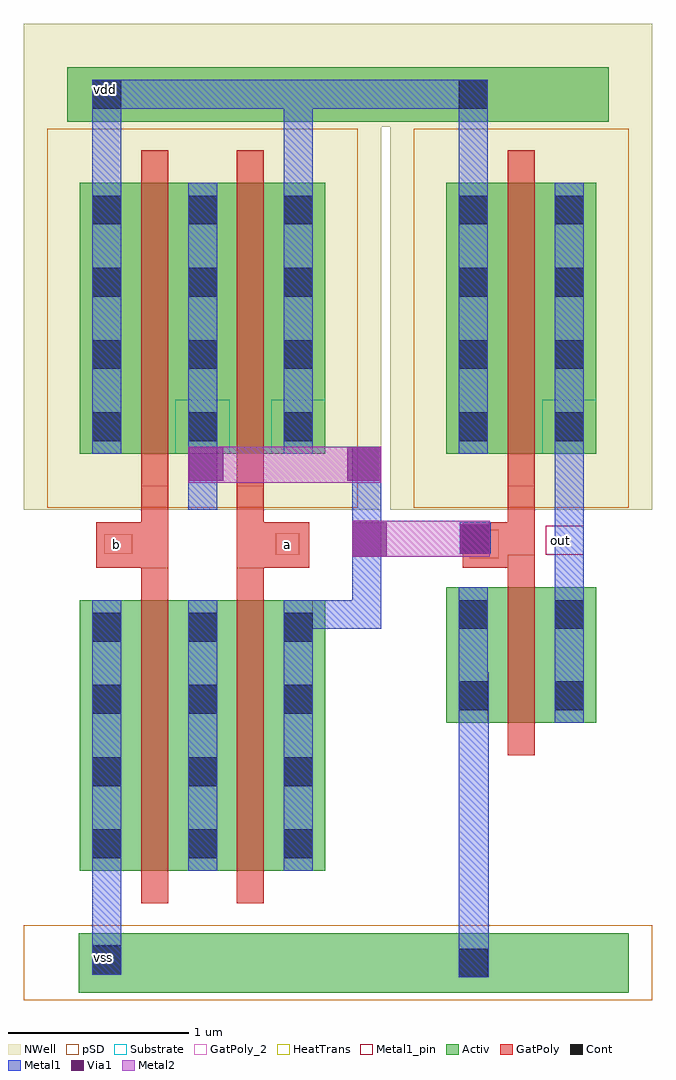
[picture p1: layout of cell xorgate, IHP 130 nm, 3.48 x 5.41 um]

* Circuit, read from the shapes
.subckt xorgate a b out vdd vss
XM1 n1 b vss vss sg13_lv_nmos w=1.5u l=0.15u
XM2 inverter$3_4/in a n1 vss sg13_lv_nmos w=1.5u l=0.15u
XM3 out inverter$3_4/in vss vss sg13_lv_nmos w=0.75u l=0.15u
XM4 inverter$3_4/in b vdd vdd sg13_lv_pmos w=1.5u l=0.15u
XM5 vdd a inverter$3_4/in vdd sg13_lv_pmos w=1.5u l=0.15u
XM6 out inverter$3_4/in vdd vdd sg13_lv_pmos w=1.5u l=0.15u
.ends

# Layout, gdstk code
from math import pi, radians
import gdstk
lib = gdstk.Library(unit=1e-6, precision=5e-09)
def R(c, l, rs):  # rectangles x0, y0, x1, y1
    for r in rs: c.add(gdstk.rectangle(r[:2], r[2:], *l))
def A(c, l, x, y, w, h, nx, ny, dx, dy):  # array of equal rectangles
    R(c, l, [(x+i*dx, y+j*dy, x+i*dx+w, y+j*dy+h) for i in range(nx) for j in range(ny)])
Activ = (1, 0)
GatPoly = (5, 0)
GatPoly_2 = (5, 2)
Cont = (6, 0)
Metal1 = (8, 0)
Metal1_pin = (8, 2)
Metal2 = (10, 0)
pSD = (14, 0)
Via1 = (19, 0)
NWell = (31, 0)
Substrate = (40, 0)
HeatTrans = (51, 0)

nmos_1 = lib.new_cell('nmos$1')
R(nmos_1, Activ, [(0,0,0.3,0.3), (0,0,0.83,1.5), (0.53,0,0.83,0.3)])
R(nmos_1, GatPoly, [(0.34,-0.18,0.49,1.68)])
R(nmos_1, GatPoly_2, [(0.34,-0.18,0.49,1.68)])
A(nmos_1, Cont, 0.07, 0.07, 0.16, 0.16, 1, 4, 0, 0.4)
A(nmos_1, Cont, 0.6, 0.07, 0.16, 0.16, 1, 4, 0, 0.4)
R(nmos_1, Metal1, [(0.07,0,0.23,1.5), (0.6,0,0.76,1.5)])
R(nmos_1, Metal1_pin, [(0.07,0,0.23,1.5), (0.6,0,0.76,1.5)])
R(nmos_1, HeatTrans, [(0.34,-0.18,0.49,1.68)])
nmos_1.add(gdstk.Label('nmos', (0.415,0.75), layer=63, texttype=0))
nmos_1.add(gdstk.Label('nmos', (0.415,0.75), layer=51, texttype=0))

pmos = lib.new_cell('pmos')
R(pmos, Activ, [(0,0,0.3,0.3), (0,0,0.83,1.5), (0.53,0,0.83,0.3)])
R(pmos, GatPoly, [(0.34,-0.18,0.49,1.68), (0.34,-0.18,0.49,1.68)])
A(pmos, Cont, 0.07, 0.07, 0.16, 0.16, 1, 4, 0, 0.4)
A(pmos, Cont, 0.6, 0.07, 0.16, 0.16, 1, 4, 0, 0.4)
R(pmos, Metal1, [(0.07,0,0.23,1.5), (0.07,0,0.23,1.5), (0.6,0,0.76,1.5), (0.6,0,0.76,1.5)])
R(pmos, pSD, [(-0.18,-0.3,1.01,1.8)])
R(pmos, NWell, [(-0.31,-0.31,1.14,1.81)])
R(pmos, Substrate, [(0.53,0,0.83,0.3)])
R(pmos, HeatTrans, [(0.34,-0.18,0.49,1.68)])
pmos.add(gdstk.Label('pmos', (0.415,0.75), layer=63, texttype=0))
pmos.add(gdstk.Label('pmos', (0.415,0.75), layer=51, texttype=0))

nmos_4 = lib.new_cell('nmos$4')
R(nmos_4, Activ, [(0,0,0.3,0.3), (0,0,0.83,0.75), (0.53,0,0.83,0.3)])
R(nmos_4, GatPoly, [(0.34,-0.18,0.49,0.93)])
R(nmos_4, GatPoly_2, [(0.34,-0.18,0.49,0.93)])
R(nmos_4, Cont, [(0.07,0.07,0.23,0.23), (0.6,0.07,0.76,0.23), (0.07,0.52,0.23,0.68), (0.6,0.52,0.76,0.68)])
R(nmos_4, Metal1, [(0.07,0,0.23,0.75), (0.6,0,0.76,0.75)])
R(nmos_4, Metal1_pin, [(0.07,0,0.23,0.75), (0.6,0,0.76,0.75)])
R(nmos_4, HeatTrans, [(0.34,-0.18,0.49,0.93)])
nmos_4.add(gdstk.Label('nmos', (0.415,0.375), layer=63, texttype=0))
nmos_4.add(gdstk.Label('nmos', (0.415,0.375), layer=51, texttype=0))

pmos_4 = lib.new_cell('pmos$4')
R(pmos_4, Activ, [(0,0,0.3,0.3), (0,0,0.83,1.5), (0.53,0,0.83,0.3)])
R(pmos_4, GatPoly, [(0.34,-0.18,0.49,1.68), (0.34,-0.18,0.49,1.68)])
A(pmos_4, Cont, 0.07, 0.07, 0.16, 0.16, 1, 4, 0, 0.4)
A(pmos_4, Cont, 0.6, 0.07, 0.16, 0.16, 1, 4, 0, 0.4)
R(pmos_4, Metal1, [(0.07,0,0.23,1.5), (0.07,0,0.23,1.5), (0.6,0,0.76,1.5), (0.6,0,0.76,1.5)])
R(pmos_4, pSD, [(-0.18,-0.3,1.01,1.8)])
R(pmos_4, NWell, [(-0.31,-0.31,1.14,1.81)])
R(pmos_4, Substrate, [(0.53,0,0.83,0.3)])
R(pmos_4, HeatTrans, [(0.34,-0.18,0.49,1.68)])
pmos_4.add(gdstk.Label('pmos', (0.415,0.75), layer=63, texttype=0))
pmos_4.add(gdstk.Label('pmos', (0.415,0.75), layer=51, texttype=0))

inverter_3 = lib.new_cell('inverter$3')
R(inverter_3, Activ, [(-0.845,-2.62,0.395,-2.29), (-0.795,2.205,0.285,2.505)])
R(inverter_3, GatPoly, [(-0.525,-0.265,-0.275,-0.015), (-0.275,-0.195,-0.125,0.185)])
R(inverter_3, GatPoly_2, [(-0.485,-0.215,-0.325,-0.055)])
R(inverter_3, Cont, [(-0.545,-2.535,-0.385,-2.375), (-0.545,-2.535,-0.385,-2.375), (-0.545,2.275,-0.385,2.435)])
R(inverter_3, Metal1, [(-0.545,-2.535,-0.38,-0.845), (-0.015,-0.375,0.145,0.365), (-0.545,1.865,-0.385,2.435)])
R(inverter_3, Metal1_pin, [(-0.015,-0.195,0.145,-0.035)])
R(inverter_3, pSD, [(-0.925,-2.66,0.525,-2.245)])
R(inverter_3, NWell, [(-0.925,2.175,0.525,2.745)])
inverter_3.add(gdstk.Reference(nmos_4, (-0.615,-1.125)))
inverter_3.add(gdstk.Reference(pmos_4, (-0.615,0.365)))
inverter_3.add(gdstk.Label('vss', (-0.475,-2.43), layer=8, texttype=2))
inverter_3.add(gdstk.Label('vdd', (-0.465,2.355), layer=8, texttype=2))
inverter_3.add(gdstk.Label('out', (0.06,-0.09), layer=8, texttype=2))
inverter_3.add(gdstk.Label('in', (-0.45,-0.11), layer=5, texttype=2))

xorgate = lib.new_cell('xorgate')
R(xorgate, Activ, [(-0.62,-2.62,1.185,-2.29), (-0.685,2.205,1.235,2.505)])
R(xorgate, GatPoly, [(-0.525,-0.265,-0.125,-0.015), (-0.275,-0.265,-0.125,0.185), (0.255,-0.265,0.405,0.185), (0.255,-0.265,0.655,-0.015)])
R(xorgate, GatPoly_2, [(0.47,-0.195,0.6,-0.075), (-0.48,-0.19,-0.325,-0.08)])
R(xorgate, Cont, [(-0.545,-2.52,-0.385,-2.36), (1.495,-0.185,1.655,-0.025), (-0.545,2.275,-0.385,2.435)])
R(xorgate, Metal1, [(-0.545,-2.52,-0.385,-0.445), (0.515,-0.605,1.055,-0.445), (0.895,-0.605,1.055,0.405), (1.49,-0.19,1.66,-0.015), (-0.015,0.055,0.145,0.365), (-0.545,0.365,-0.385,2.435), (-0.545,1.865,-0.385,2.435), (0.515,1.865,0.675,2.435), (-0.545,2.275,0.675,2.435), (0.675,2.275,1.645,2.435)])
R(xorgate, Metal1_pin, [(-0.545,-2.52,-0.385,-2.355), (1.965,-0.195,2.125,-0.035), (-0.545,2.275,-0.385,2.435)])
R(xorgate, Metal2, [(0.895,-0.205,1.655,-0.005), (-0.015,0.205,1.055,0.405)])
R(xorgate, pSD, [(-0.925,-2.66,1.105,-2.245)])
R(xorgate, Via1, [(0.895,-0.205,1.085,-0.015), (1.495,-0.185,1.655,-0.025), (-0.01,0.215,0.18,0.405), (0.865,0.215,1.055,0.405)])
R(xorgate, NWell, [(-0.925,2.175,1.105,2.745)])
xorgate.add(gdstk.Reference(nmos_1, (0.745,-0.445), rotation=pi))
xorgate.add(gdstk.Reference(pmos, (-0.085,0.365)))
xorgate.add(gdstk.Reference(pmos, (-0.615,0.365)))
xorgate.add(gdstk.Reference(nmos_1, (-0.615,-1.945)))
xorgate.add(gdstk.Reference(inverter_3, (2.03,0)))
xorgate.add(gdstk.Label('out', (2.045,-0.115), layer=8, texttype=2))
xorgate.add(gdstk.Label('vdd', (-0.475,2.38), layer=8, texttype=2))
xorgate.add(gdstk.Label('vss', (-0.485,-2.425), layer=8, texttype=2))
xorgate.add(gdstk.Label('a', (0.535,-0.135), layer=5, texttype=2))
xorgate.add(gdstk.Label('b', (-0.41,-0.14), layer=5, texttype=2))

lib.write_gds('xorgate.gds')
